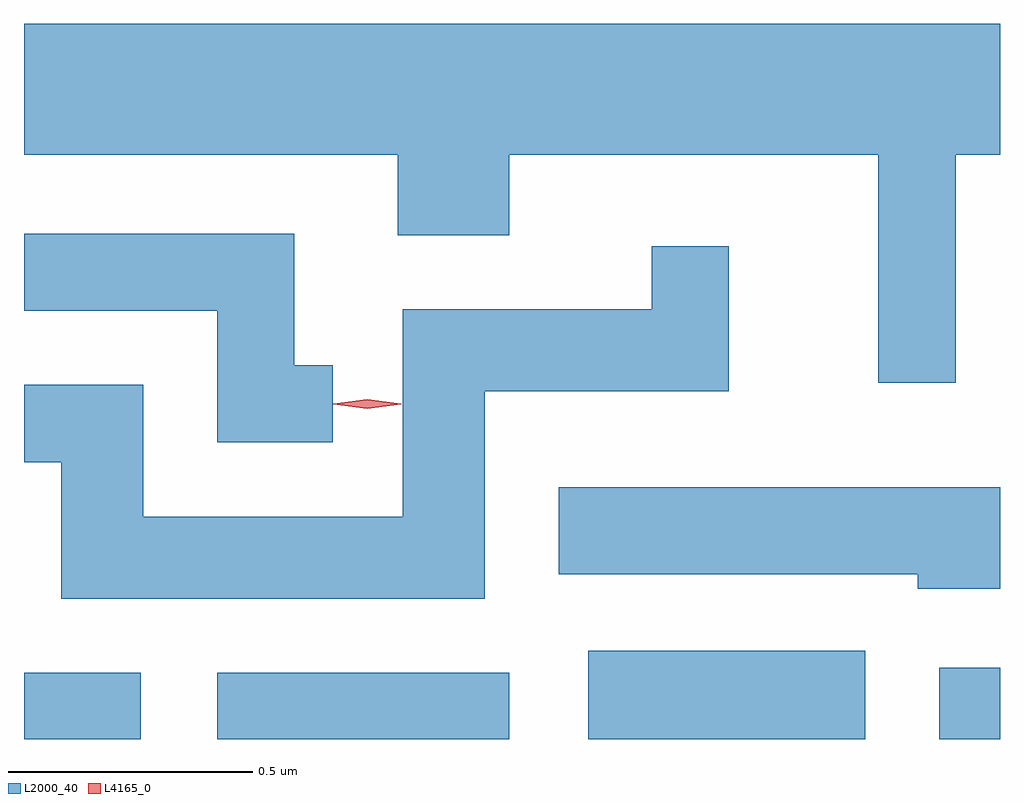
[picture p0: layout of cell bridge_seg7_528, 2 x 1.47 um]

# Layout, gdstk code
import gdstk
lib = gdstk.Library(unit=1e-6, precision=1e-09)
def R(c, l, rs):  # rectangles x0, y0, x1, y1
    for r in rs: c.add(gdstk.rectangle(r[:2], r[2:], *l))
def P(c, l, *ps):  # polygons
    for p in ps: c.add(gdstk.Polygon(p, *l))
L2000_40 = (2000, 40)
L4165_0 = (4165, 0)

bridge_seg7_528 = lib.new_cell('bridge_seg7_528')
R(bridge_seg7_528, L2000_40, [(1341.565,1699.798,1341.804,1699.934), (1341.961,1699.798,1342.559,1699.934), (1342.721,1699.798,1343.289,1699.979), (1343.441,1699.798,1343.565,1699.944)])
P(bridge_seg7_528, L2000_40, [(1343.474,1700.996),(1343.565,1700.996),(1343.565,1701.264),(1341.565,1701.264),(1341.565,1700.996),(1342.331,1700.996),(1342.331,1700.831),(1342.559,1700.831),(1342.559,1700.996),(1343.316,1700.996),(1343.316,1700.528),(1343.474,1700.528)],
  [(1342.198,1700.564),(1342.119,1700.564),(1342.119,1700.834),(1341.565,1700.834),(1341.565,1700.676),(1341.961,1700.676),(1341.961,1700.406),(1342.198,1700.406)],
  [(1342.509,1700.511),(1343.009,1700.511),(1343.009,1700.808),(1342.851,1700.808),(1342.851,1700.679),(1342.341,1700.679),(1342.341,1700.254),(1341.809,1700.254),(1341.809,1700.524),(1341.565,1700.524),(1341.565,1700.366),(1341.641,1700.366),(1341.641,1700.086),(1342.509,1700.086)],
  [(1343.565,1700.314),(1342.661,1700.314),(1342.661,1700.136),(1343.396,1700.136),(1343.396,1700.106),(1343.565,1700.106)])
P(bridge_seg7_528, L4165_0, [(1342.268,1700.475),(1342.199,1700.484),(1342.199,1700.485),(1342.199,1700.485),(1342.268,1700.495),(1342.338,1700.485),(1342.338,1700.485),(1342.338,1700.484)])

lib.write_gds('bridge_seg7_528.gds')
